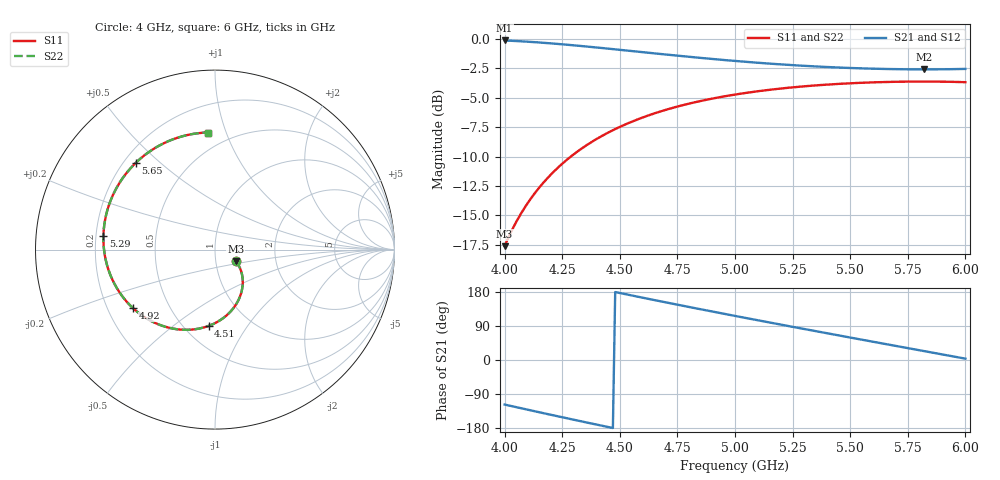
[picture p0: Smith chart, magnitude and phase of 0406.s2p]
!freq-unit  param-type  data-format  keyword  impedance-ohms
# GHZ  S  RI  R  50
!Freq  ReS11  ImS11  ReS21  ImS21  ReS12  ImS12  ReS22  ImS22
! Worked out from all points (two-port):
!   201 points, 4 GHz to 6 GHz, reference 50 ohm
!   highest |S21| = -0.16 dB at 4 GHz (marker M1); lowest = -2.6 dB at 5.82 GHz (marker M2)
!   |S21| within 3 dB of the highest: start of sweep to end of sweep
!   lowest |S11| = -17.6 dB at 4 GHz (marker M3), VSWR 1.30, Z = 62.5 - j8.06 ohm
!   |S11| at or under -10 dB: start of sweep to 4.288 GHz
!   |S22| runs from -17.6 to -3.6 dB; largest |S21 - S12| = 0
!   S11 on the Smith chart (normalised r, x): 4 GHz: 1.25, -0.16; 4.51 GHz: 0.65, -0.68; 4.92 GHz: 0.31, -0.29; 5.29 GHz: 0.23, +0.06; 5.65 GHz: 0.25, +0.42; 6 GHz: 0.38, +0.86
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4  0.1155 -0.0634  -0.4552 -0.8704  -0.4552 -0.8704  0.1155 -0.0634
4.08  0.145 -0.1184  -0.6051 -0.7621  -0.6051 -0.7621  0.145 -0.1184
4.17  0.1545 -0.1915  -0.7408 -0.6105  -0.7408 -0.6105  0.1545 -0.1915
4.26  0.137 -0.2674  -0.8369 -0.4374  -0.8369 -0.4374  0.137 -0.2674
4.34  0.0995 -0.3302  -0.8877 -0.2742  -0.8877 -0.2742  0.0995 -0.3302
4.42  0.044 -0.3829  -0.9063 -0.1094  -0.9063 -0.1094  0.044 -0.3829
4.51  -0.0356 -0.4252  -0.8917 0.0703  -0.8917 0.0703  -0.0356 -0.4252
4.59  -0.1168 -0.4444  -0.8502 0.2195  -0.8502 0.2195  -0.1168 -0.4444
4.67  -0.203 -0.4447  -0.7856 0.3549  -0.7856 0.3549  -0.203 -0.4447
4.8  -0.3422 -0.4046  -0.6412 0.5387  -0.6412 0.5387  -0.3422 -0.4046
4.92  -0.4567 -0.3264  -0.4767 0.6631  -0.4767 0.6631  -0.4567 -0.3264
5  -0.5197 -0.2556  -0.3566 0.7207  -0.3566 0.7207  -0.5197 -0.2556
5.14  -0.5959 -0.105  -0.1377 0.7725  -0.1377 0.7725  -0.5959 -0.105
5.21  -0.6155 -0.0213  -0.0282 0.7758  -0.0282 0.7758  -0.6155 -0.0213
5.29  -0.6216 0.0777  0.0941 0.7619  0.0941 0.7619  -0.6216 0.0777
5.34  -0.6165 0.1399  0.1679 0.7442  0.1679 0.7442  -0.6165 0.1399
5.49  -0.5611 0.3197  0.3713 0.6532  0.3713 0.6532  -0.5611 0.3197
5.65  -0.4419 0.483  0.5483 0.5022  0.5483 0.5022  -0.4419 0.483
5.67  -0.4232 0.5003  0.5669 0.48  0.5669 0.48  -0.4232 0.5003
5.82  -0.2628 0.6028  0.6789 0.296  0.6789 0.296  -0.2628 0.6028
5.91  -0.154 0.6383  0.7208 0.1737  0.7208 0.1737  -0.154 0.6383
6  -0.0407 0.6523  0.7425 0.0459  0.7425 0.0459  -0.0407 0.6523
